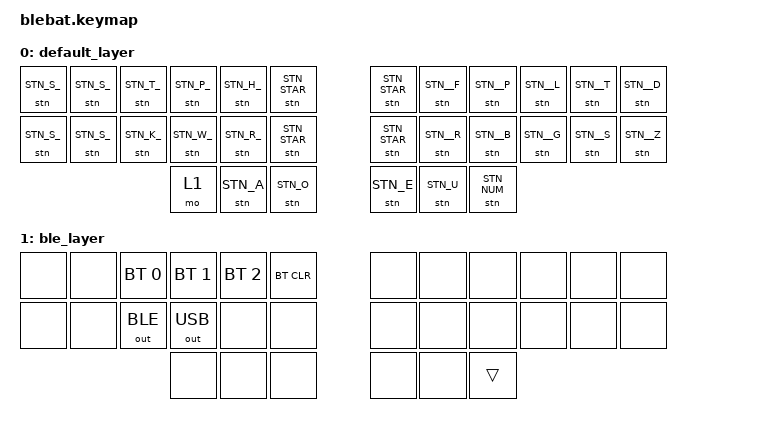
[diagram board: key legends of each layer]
/*
 * Copyright (c) 2020 The ZMK Contributors
 *
 * SPDX-License-Identifier: MIT
 */

#include <behaviors.dtsi>
#include <dt-bindings/zmk/keys.h>
#include <dt-bindings/zmk/bt.h>
#include <dt-bindings/zmk/outputs.h>
#include <dt-bindings/zmk/steno.h>

/ {
    keymap0: keymap {
        compatible = "zmk,keymap";

        default_layer {
            bindings = <
                /* &kp N1 &kp Q &kp W &kp E &kp R &kp T &kp Y &kp U &kp I &kp O &kp P &kp N3 */
                /* &kp N2 &kp A &kp S &kp D &kp F &kp G &kp H &kp J &kp K &kp L &kp SEMI &kp N4 */
                /* &kp Z &kp X &kp C &kp V &kp B &mo 1 */
                &stn STN_S_ &stn STN_S_ &stn STN_T_ &stn STN_P_ &stn STN_H_ &stn STN_STAR &stn STN_STAR &stn STN__F &stn STN__P &stn STN__L &stn STN__T &stn STN__D
                &stn STN_S_ &stn STN_S_ &stn STN_K_ &stn STN_W_ &stn STN_R_ &stn STN_STAR &stn STN_STAR &stn STN__R &stn STN__B &stn STN__G &stn STN__S &stn STN__Z
                &mo 1 &stn STN_A &stn STN_O &stn STN_E &stn STN_U &stn STN_NUM
                >;
        };
        ble_layer {
            bindings = <
                &none &none &bt BT_SEL 0 &bt BT_SEL 1 &bt BT_SEL 2 &bt BT_CLR &none &none &none &none &none &none
                &none &none &out OUT_BLE &out OUT_USB &none &none &none &none &none &none &none &none
                &none &none &none &none &none &trans
                >;
        };
    };
};
